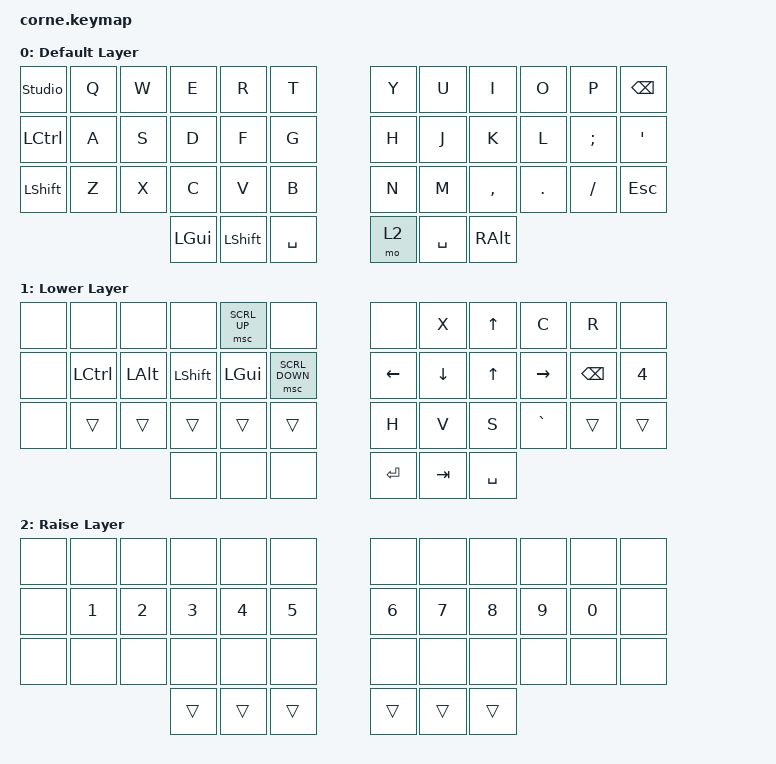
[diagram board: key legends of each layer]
/*
 * Copyright (c) 2020 The ZMK Contributors
 *
 * SPDX-License-Identifier: MIT
 */

#include <behaviors.dtsi>
#include <dt-bindings/zmk/keys.h>
#include <dt-bindings/zmk/pointing.h>

&bootloader {
};

/ {
    combos {
        compatible = "zmk,combos";

        Return-Combo {
            bindings = <&kp RET>;
            key-positions = <37 40>;
        };

        Reset {
            bindings = <&bootloader>;
            key-positions = <16 15 13 14 19 20 21 22>;
        };
    };

    keymap {
        compatible = "zmk,keymap";

        default_layer {
            display-name = "Default Layer";

            // -----------------------------------------------------------------------------------------
            // |  TAB |  Q  |  W  |  E  |  R  |  T  |   |  Y  |  U   |  I  |  O  |  P  | BSPC |
            // | CTRL |  A  |  S  |  D  |  F  |  G  |   |  H  |  J   |  K  |  L  |  ;  |  '   |
            // | SHFT |  Z  |  X  |  C  |  V  |  B  |   |  N  |  M   |  ,  |  .  |  /  | ESC  |
            //                    | GUI | LWR | SPC |   | ENT | RSE  | ALT |

            bindings = <
&studio_unlock  &kp Q  &kp W  &kp E     &kp R           &kp T        &kp Y  &kp U      &kp I      &kp O    &kp P     &kp BSPC
&kp LCTRL       &kp A  &kp S  &kp D     &kp F           &kp G        &kp H  &kp J      &kp K      &kp L    &kp SEMI  &kp SQT
&kp LSHFT       &kp Z  &kp X  &kp C     &kp V           &kp B        &kp N  &kp M      &kp COMMA  &kp DOT  &kp FSLH  &kp ESC
                              &kp LGUI  &kp LEFT_SHIFT  &kp SPACE    &mo 2  &kp SPACE  &kp RALT
            >;
        };

        modifier {
            display-name = "Lower Layer";

            // -----------------------------------------------------------------------------------------
            // |  TAB |  1  |  2  |  3  |  4  |  5  |   |  6  |  7  |  8  |  9  |  0  | BSPC |
            // | BTCLR| BT1 | BT2 | BT3 | BT4 | BT5 |   | LFT | DWN |  UP | RGT |     |      |
            // | SHFT |     |     |     |     |     |   |     |     |     |     |     |      |
            //                    | GUI |     | SPC |   | ENT |     | ALT |

            bindings = <
&none  &none             &none         &none           &msc SCRL_UP  &none             &none     &kp X     &kp UP_ARROW  &kp C      &kp R          &none
&none  &kp LEFT_CONTROL  &kp LEFT_ALT  &kp LEFT_SHIFT  &kp LEFT_GUI  &msc SCRL_DOWN    &kp LEFT  &kp DOWN  &kp UP        &kp RIGHT  &kp BACKSPACE  &kp NUMBER_4
&none  &trans            &trans        &trans          &trans        &trans            &kp H     &kp V     &kp S         &kp GRAVE  &trans         &trans
                                       &none           &none         &none             &kp RET   &kp TAB   &kp SPACE
            >;
        };

        num_layer {
            display-name = "Raise Layer";

            // -----------------------------------------------------------------------------------------
            // |  TAB |  !  |  @  |  #  |  $  |  %  |   |  ^  |  &  |  *  |  (  |  )  | BSPC |
            // | CTRL |     |     |     |     |     |   |  -  |  =  |  [  |  ]  |  \  |  `   |
            // | SHFT |     |     |     |     |     |   |  _  |  +  |  {  |  }  | "|" |  ~   |
            //                    | GUI |     | SPC |   | ENT |     | ALT |

            bindings = <
&none  &none         &none         &none         &none         &none     &none         &none   &none   &none   &none   &none
&none  &kp NUMBER_1  &kp NUMBER_2  &kp NUMBER_3  &kp NUMBER_4  &kp N5    &kp NUMBER_6  &kp N7  &kp N8  &kp N9  &kp N0  &none
&none  &none         &none         &none         &none         &none     &none         &none   &none   &none   &none   &none
                                   &trans        &trans        &trans    &trans        &trans  &trans
            >;
        };
    };
};
